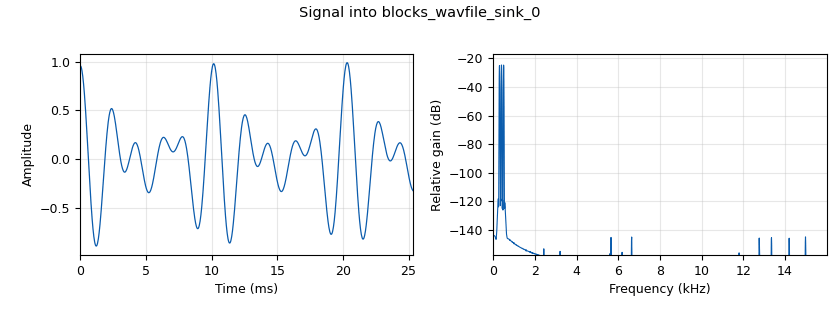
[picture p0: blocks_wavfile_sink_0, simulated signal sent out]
options:
  parameters:
    generate_options: qt_gui
    id: ec415_lab1_kremerme_cgeron
    output_language: python
    title: Not titled yet
  states: {}

blocks:
- name: fone
  id: variable
  parameters:
    value: '294'
  states: {}
- name: ftwo
  id: variable
  parameters:
    value: '392'
  states: {}
- name: fthree
  id: variable
  parameters:
    value: '494'
  states: {}
- name: num_notes
  id: variable
  parameters:
    value: '3'
  states: {}
- name: samp_rate
  id: variable
  parameters:
    value: '32000'
  states: {}
- name: samples_per_symbol
  id: variable
  parameters:
    value: '200'
  states: {}
- name: analog_sig_source_x_0
  id: analog_sig_source_x
  parameters:
    amp: '.99'
    freq: fone
    offset: '0'
    phase: '0'
    samp_rate: samp_rate
    type: float
    waveform: analog.GR_COS_WAVE
  states: {}
- name: analog_sig_source_x_1
  id: analog_sig_source_x
  parameters:
    amp: '.99'
    freq: ftwo
    offset: '0'
    phase: '0'
    samp_rate: samp_rate
    type: float
    waveform: analog.GR_COS_WAVE
  states: {}
- name: analog_sig_source_x_2
  id: analog_sig_source_x
  parameters:
    amp: '.99'
    freq: fthree
    offset: '0'
    phase: '0'
    samp_rate: samp_rate
    type: float
    waveform: analog.GR_COS_WAVE
  states: {}
- name: blocks_add_xx_0
  id: blocks_add_xx
  parameters:
    num_inputs: num_notes
    type: float
  states: {}
- name: blocks_multiply_const_vxx_0
  id: blocks_multiply_const_vxx
  parameters:
    const: 1/num_notes
    type: float
  states: {}
- name: blocks_multiply_xx_0
  id: blocks_multiply_xx
  parameters:
    num_inputs: num_notes
    type: float
  states: {state: disabled}
- name: blocks_wavfile_sink_0
  id: blocks_wavfile_sink
  parameters:
    bits_per_sample: '8'
    file: /ad/eng/users/k/r/kremerme/Desktop/ec415/ec415/lab1/sin.wav
    samp_rate: '32000'
  states: {}

connections:
- [analog_sig_source_x_0, '0', blocks_add_xx_0, '1']
- [analog_sig_source_x_1, '0', blocks_add_xx_0, '2']
- [analog_sig_source_x_2, '0', blocks_add_xx_0, '0']
- [blocks_add_xx_0, '0', blocks_multiply_const_vxx_0, '0']
- [blocks_multiply_const_vxx_0, '0', blocks_wavfile_sink_0, '0']

metadata:
  file_format: 1
